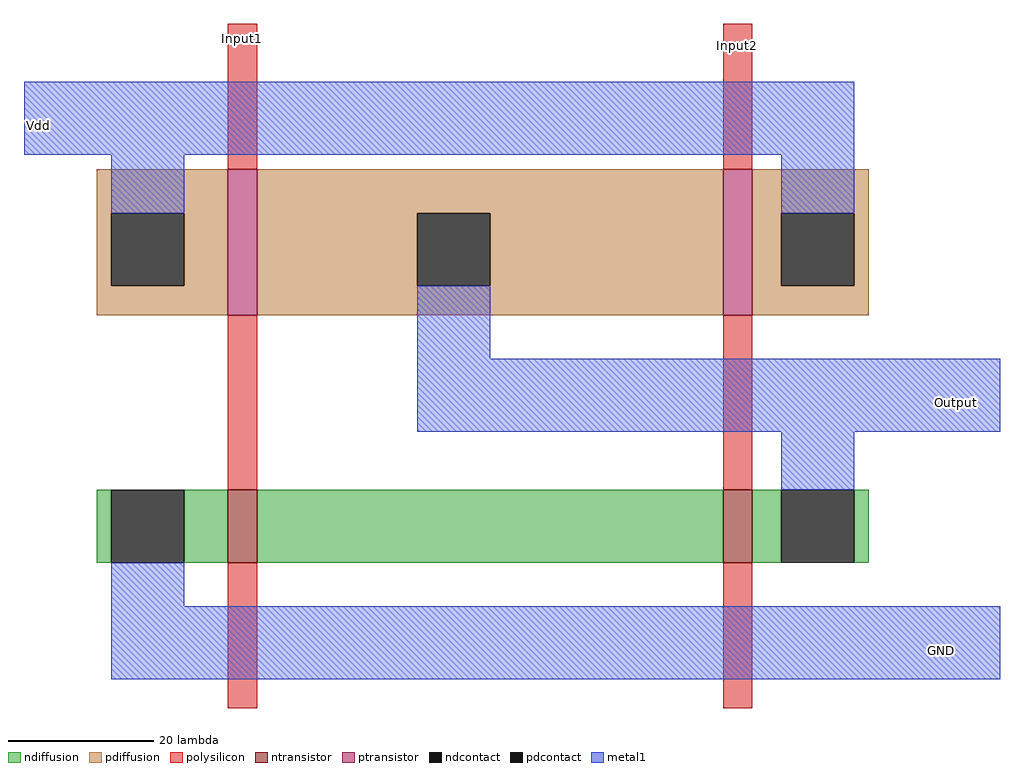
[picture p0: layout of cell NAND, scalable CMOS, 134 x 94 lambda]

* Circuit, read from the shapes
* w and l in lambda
.subckt NAND GND Input1 Input2 Output Vdd
M1 n1 Input1 GND VSUBS nfet w=10 l=4
M2 Output Input2 n1 VSUBS nfet w=10 l=4
M3 Output Input1 Vdd NWELL pfet w=20 l=4
M4 Vdd Input2 Output NWELL pfet w=20 l=4
.ends

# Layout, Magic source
magic
tech scmos
<< polysilicon >>
rect -46 44 -42 64
rect 22 44 26 64
rect -46 0 -42 24
rect 22 0 26 24
rect -46 -30 -42 -10
rect 22 -30 26 -10
<< ndiffusion >>
rect -64 -10 -62 0
rect -52 -10 -46 0
rect -42 -10 22 0
rect 26 -10 30 0
rect 40 -10 42 0
<< pdiffusion >>
rect -64 38 -46 44
rect -64 28 -62 38
rect -52 28 -46 38
rect -64 24 -46 28
rect -42 38 22 44
rect -42 28 -20 38
rect -10 28 22 38
rect -42 24 22 28
rect 26 38 42 44
rect 26 28 30 38
rect 40 28 42 38
rect 26 24 42 28
<< metal1 >>
rect -74 46 40 56
rect -62 38 -52 46
rect 30 38 40 46
rect -20 18 -10 28
rect -20 8 60 18
rect 30 0 40 8
rect -62 -16 -52 -10
rect -62 -26 60 -16
<< ntransistor >>
rect -46 -10 -42 0
rect 22 -10 26 0
<< ptransistor >>
rect -46 24 -42 44
rect 22 24 26 44
<< ndcontact >>
rect -62 -10 -52 0
rect 30 -10 40 0
<< pdcontact >>
rect -62 28 -52 38
rect -20 28 -10 38
rect 30 28 40 38
<< labels >>
rlabel metal1 54 12 54 12 1 Output
rlabel metal1 -72 50 -72 50 3 Vdd
rlabel metal1 52 -22 52 -22 1 GND
rlabel polysilicon -44 62 -44 62 5 Input1
rlabel polysilicon 24 61 24 61 5 Input2
<< end >>
